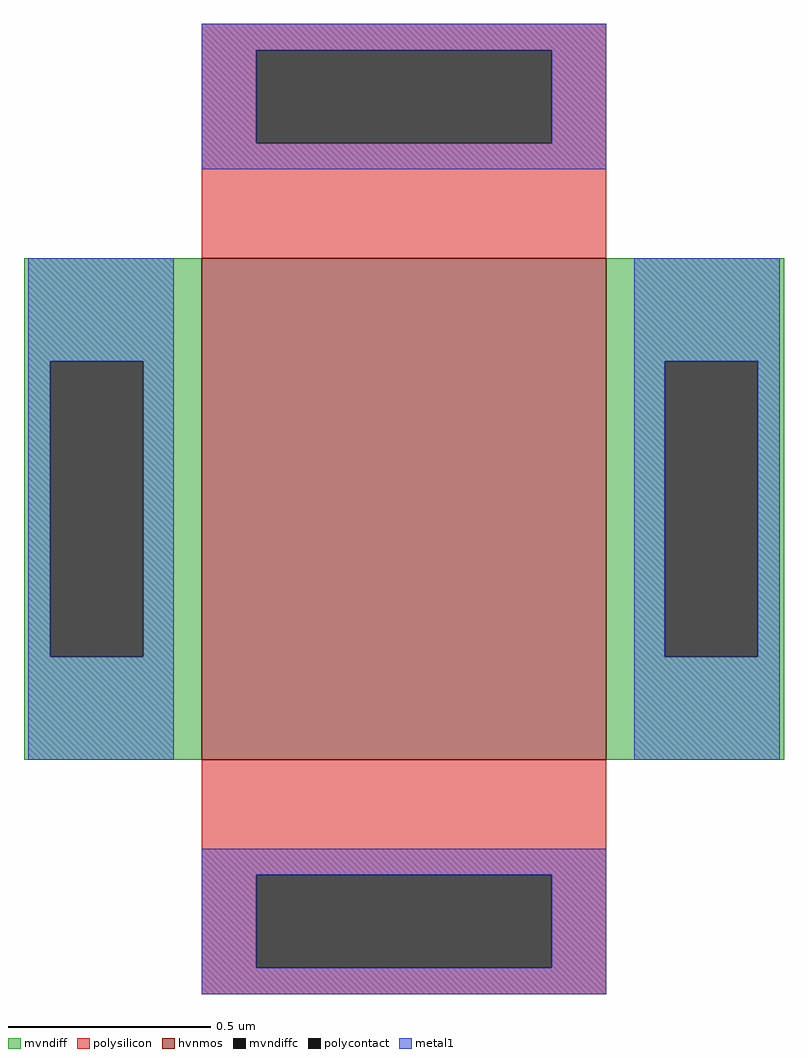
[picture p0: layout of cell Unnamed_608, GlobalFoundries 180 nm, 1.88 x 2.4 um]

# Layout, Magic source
magic
tech gf180mcuD
magscale 1 10
<< hvnmos >>
rect 14 0 214 248
<< mvndiff >>
rect -74 197 14 248
rect -74 51 -61 197
rect -15 51 14 197
rect -74 0 14 51
rect 214 197 302 248
rect 214 51 243 197
rect 289 51 302 197
rect 214 0 302 51
<< mvndiffc >>
rect -61 51 -15 197
rect 243 51 289 197
<< polysilicon >>
rect 14 351 214 364
rect 14 305 41 351
rect 187 305 214 351
rect 14 248 214 305
rect 14 -57 214 0
rect 14 -103 41 -57
rect 187 -103 214 -57
rect 14 -116 214 -103
<< polycontact >>
rect 41 305 187 351
rect 41 -103 187 -57
<< metal1 >>
rect 14 351 214 364
rect 14 305 41 351
rect 187 305 214 351
rect 14 292 214 305
rect -72 197 0 248
rect -72 51 -61 197
rect -15 51 0 197
rect -72 0 0 51
rect 228 197 300 248
rect 228 51 243 197
rect 289 51 300 197
rect 228 0 300 51
rect 14 -57 214 -44
rect 14 -103 41 -57
rect 187 -103 214 -57
rect 14 -116 214 -103
<< end >>
